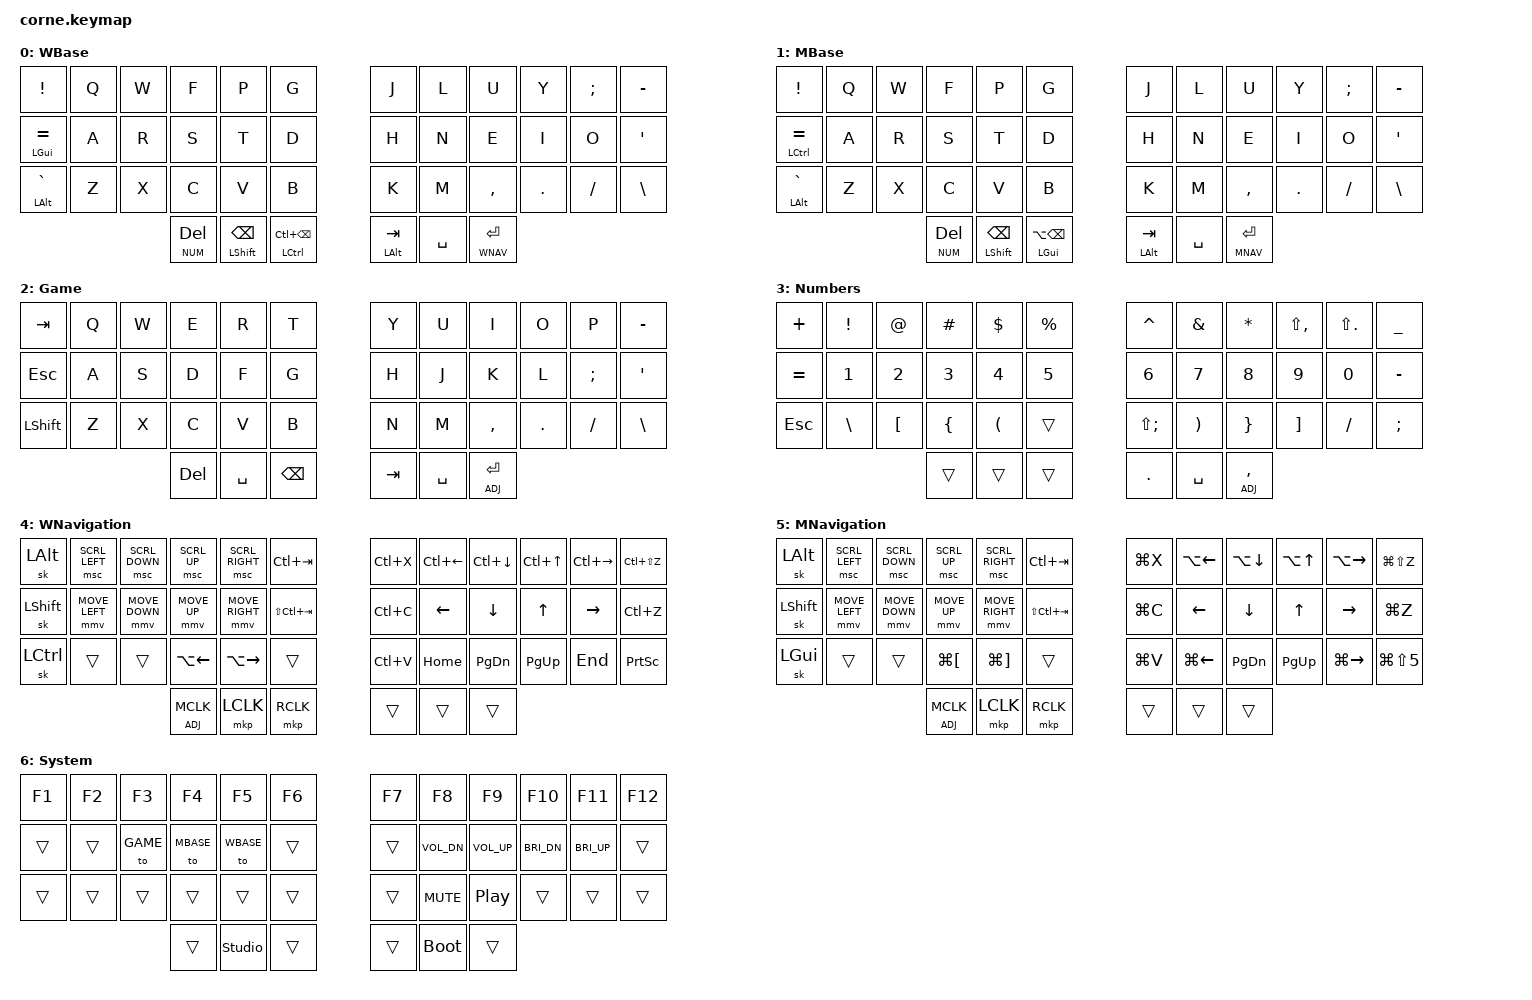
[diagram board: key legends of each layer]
#include <behaviors.dtsi>
#include <dt-bindings/zmk/bt.h>
#include <dt-bindings/zmk/keys.h>
#include <dt-bindings/zmk/pointing.h>

#define WBASE 0
#define MBASE 1
#define GAME 2
#define NUM 3
#define WNAV 4
#define MNAV 5
#define ADJ 6
#define ZMK_POINTING_DEFAULT_MOVE_VAL 1200
#define ZMK_POINTING_DEFAULT_SCRL_VAL 20

/ {
    behaviors {
        hm: homerow_mods {
            compatible = "zmk,behavior-hold-tap";
            #binding-cells = <2>;
            tapping-term-ms = <200>;
            flavor = "tap-preferred";
            bindings = <&kp>, <&kp>;

            quick-tap-ms = <180>;
            require-prior-idle-ms = <120>; /* tune to taste */
        };

        para: para {
            compatible = "zmk,behavior-tap-dance";
            #binding-cells = <0>;
            bindings = <&kp LEFT_PARENTHESIS>, <&kp RIGHT_PARENTHESIS>;
        };

        caps: caps {
            compatible = "zmk,behavior-caps-word";
            #binding-cells = <0>;
            continue-list = <MINUS BACKSPACE>;
        };

        paraless: paraless {
            compatible = "zmk,behavior-mod-morph";
            bindings = <&kp LEFT_PARENTHESIS>, <&kp LESS_THAN>;

            #binding-cells = <0>;
            mods = <(MOD_LSFT)>;
        };

        paragreat: paragreat {
            compatible = "zmk,behavior-mod-morph";
            bindings = <&kp RIGHT_PARENTHESIS>, <&kp GREATER_THAN>;

            #binding-cells = <0>;
            mods = <(MOD_LSFT)>;
        };

	// TAP DANCES THAT I USE
	   ex_esc: excl_escape {
		 compatible = "zmk,behavior-tap-dance";
		 #binding-cells = <0>;
           bindings = <&kp EXCL>, <&kp ESC>;
	   };

	   min_prt_w: minus_print_windows {
		 compatible = "zmk,behavior-tap-dance";
		 #binding-cells = <0>;
           bindings = <&kp MINUS>, <&kp PSCRN>;
	   };

	   min_prt_m: minus_print_mac {
		 compatible = "zmk,behavior-tap-dance";
		 #binding-cells = <0>;
           bindings = <&kp MINUS>, <&kp LG(LS(N5))>;
	   };

	   bslh_caps_word: baskslash_caps_word {
		 compatible = "zmk,behavior-tap-dance";
		 #binding-cells = <0>;
           bindings = <&kp BSLH>, <&caps_word>;
	   };
	
    };

    macros {
        browsertab: browsertab {
            compatible = "zmk,behavior-macro";
            #binding-cells = <0>;
            bindings =
                <&macro_press>,
                <&kp LCTRL>,
                <&macro_tap>,
                <&kp TAB>,
                <&macro_release>,
                <&kp LCTRL>;
        };

	combos {
		compatible = "zmk,combos";

		left_parenthesis {
	   		bindings = <&kp LPAR>;
			key-positions = <4 16>;
			layers = <WBASE MBASE>;
		};

		right_parenthesis {
	   		bindings = <&kp RPAR>;
			key-positions = <7 19>;
			layers = <WBASE MBASE>;
		};

		left_bracket {
	   		bindings = <&kp LBKT>;
			key-positions = <2 14>;
			layers = <WBASE MBASE>;
		};

		right_bracket {
	   		bindings = <&kp RBKT>;
			key-positions = <9 21>;
			layers = <WBASE MBASE>;
		};


		left_brace {
	   		bindings = <&kp LBRC>;
			key-positions = <3 15>;
			layers = <WBASE MBASE>;
		};

		right_brace {
	   		bindings = <&kp RBRC>;
			key-positions = <8 20>;
			layers = <WBASE MBASE>;
		};		

		escape {
	   		bindings = <&kp ESC>;
			key-positions = <37 38>;
			layers = <WBASE MBASE>;
		};

		print_win {
	   		bindings = <&kp PSCRN>;
			key-positions = <39 40>;
			layers = <WBASE>;
		};

		print_mac {
	   		bindings = <&kp LG(LS(N5))>;
			key-positions = <39 40>;
			layers = <WBASE>;
		};				


	};

    };


    //

    keymap {
        compatible = "zmk,keymap";

        WBASE {
            display-name = "WBase";

            // -----------------------------------------------------------------------------------------
            // |  !  |  Q  |  W  |  F  |  P   |    G     |===|  J  |   L    |  U  |  Y  |  ;  |  -  |
            // |  =  |  A  |  R  |  S  |  T   |    D     |===|  H  |   N    |  E  |  I  |  O  |  '  |
            // |  `  |  Z  |  X  |  C  |  V   |    B     |===|  N  |   M    |  ,  |  .  |  /  |  \  |
            //                   | DEL | BKSP | LC(BKSP) |===| TAB | SPACE  | RET |

            bindings = <
&kp EXCL        &kp Q  &kp W  &kp F       &kp P             &kp G                 &kp J         &kp L      &kp U          &kp Y    &kp SEMI  &kp MINUS
&mt LGUI EQUAL  &kp A  &kp R  &kp S       &kp T             &kp D                 &kp H         &kp N      &kp E          &kp I    &kp O     &kp SQT
&mt LALT GRAVE  &kp Z  &kp X  &kp C       &kp V             &kp B                 &kp K         &kp M      &kp COMMA      &kp DOT  &kp FSLH  &kp BSLH
                              &lt NUM DEL &mt LSHIFT BKSP   &mt LCTRL LC(BKSP)    &mt LALT TAB  &kp SPACE  &lt WNAV RET
            >;
        };

	MBASE {
            display-name = "MBase";

            // -----------------------------------------------------------------------------------------
            // |  !  |  Q  |  W  |  F  |  P   |    G     |===|  J  |   L    |  U  |  Y  |  ;  |  -  |
            // |  =  |  A  |  R  |  S  |  T   |    D     |===|  H  |   N    |  E  |  I  |  O  |  '  |
            // |  `  |  Z  |  X  |  C  |  V   |    B     |===|  N  |   M    |  ,  |  .  |  /  |  \  |
            //                   | DEL | BKSP | LC(BKSP) |===| TAB | SPACE  | RET |

            bindings = <
&kp EXCL         &kp Q  &kp W  &kp F       &kp P             &kp G                 &kp J         &kp L      &kp U          &kp Y    &kp SEMI  &kp MINUS
&mt LCTRL EQUAL  &kp A  &kp R  &kp S       &kp T             &kp D                 &kp H         &kp N      &kp E          &kp I    &kp O     &kp SQT
&mt LALT GRAVE   &kp Z  &kp X  &kp C       &kp V             &kp B                 &kp K         &kp M      &kp COMMA      &kp DOT  &kp FSLH  &kp BSLH
                               &lt NUM DEL &mt LSHIFT BKSP   &mt LGUI LA(BKSP)     &mt LALT TAB  &kp SPACE  &lt MNAV RET
            >;
        };

	GAME {
            display-name = "Game";

            // -----------------------------------------------------------------------------------------
            // | TAB |  Q  |  W  |  E  |  R   |    T     |===|  Y  |   U    |  I  |  O  |  P  |  -  |
            // | ESC |  A  |  S  |  D  |  F   |    G     |===|  H  |   J    |  K  |  L  |  ;  |  '  |
            // | SHFT|  Z  |  X  |  C  |  V   |    B     |===|  N  |   M    |  ,  |  .  |  /  |  \  |
            //                   | DEL | SPACE|    BKSP  |===| TAB | SPACE  | RET |

            bindings = <
&kp TAB     &kp Q  &kp W  &kp E       &kp R       &kp T     &kp Y    &kp U      &kp I          &kp O    &kp P     &kp MINUS
&kp ESC     &kp A  &kp S  &kp D       &kp F       &kp G     &kp H    &kp J      &kp K          &kp L    &kp SEMI  &kp SQT
&kp LSHIFT  &kp Z  &kp X  &kp C       &kp V       &kp B     &kp N    &kp M      &kp COMMA      &kp DOT  &kp FSLH  &kp BSLH
                          &kp DEL     &kp SPACE   &kp BKSP  &kp TAB  &kp SPACE  &lt ADJ RET
            >;
        };

        NUM {
            display-name = "Numbers";

            // -----------------------------------------------------------------------------------------
            // |  +   |  !  |  @  |  #  |  $  |  %  |===|  ^  |  &  |  *  |  <  |  >  |  _   |
            // |  =   |  1  |  2  |  3  |  4  |  5  |===|  6  |  7  |  8  |  9  |  0  |  -   |
            // | ESC  |     |  [  |  {  |  (  |     |===|  :  |  )  |  }  |  ]  |  /  |  ;   |
            //                    |     |     |     |===|  .  | SPC |  ,  |

            bindings = <
&kp PLUS   &kp EXCL  &kp AT    &kp HASH     &kp DLLR         &kp PRCNT        &kp CARET       &kp AMPS  &kp STAR  &kp LS(COMMA) &kp LS(DOT)      &kp UNDER
&kp EQUAL  &kp N1    &kp N2    &kp N3       &kp N4           &kp N5           &kp N6          &kp N7    &kp N8    &kp N9        &kp N0           &kp MINUS
&kp ESC    &kp BSLH  &kp LBKT  &kp LBRC     &kp LPAR         &trans           &kp LS(SEMI)    &kp RPAR  &kp RBRC  &kp RBKT      &kp FSLH         &kp SEMI
                               &trans       &trans           &trans           &kp DOT         &kp SPACE &lt ADJ COMMA 
            >;
        };

        WNAV {
            display-name = "WNavigation";

            // -----------------------------------------------------------------------------------------
            // | ALT | SCRL< | SCRLv | SCRL^ | SCRL> | TBFW |===|CUT  | WORD<| WORDv| WORD^| WORD>| REDO |
            // | SHFT| MOVE< | MOVEv | MOVE^ | MOVE> | TBBK |===|PASTE|  <   |  v   |  ^   |  >   | UNDO |
            // | CTRL|       |       | PGBK  | PGFWD |      |===|COPY | HOME | PGDN | PGUP | END  |      |
            //                       | MCLK  | LCLK  | RCLK |===|     |      |      |

            bindings = <
&sk LALT   &msc SCRL_LEFT    &msc SCRL_DOWN  &msc SCRL_UP    &msc SCRL_RIGHT   &kp LC(TAB)      &kp LC(X) &kp LC(LEFT)  &kp LC(DOWN)    &kp LC(UP)      &kp LC(RIGHT)    &kp LC(LS(Z)) 
&sk LSHIFT &mmv MOVE_LEFT    &mmv MOVE_DOWN  &mmv MOVE_UP    &mmv MOVE_RIGHT   &kp LS(LC(TAB))  &kp LC(C) &kp LEFT      &kp DOWN        &kp UP          &kp RIGHT        &kp LC(Z) 
&sk LCTRL  &trans            &trans          &kp LA(LEFT)    &kp LA(RIGHT)     &trans           &kp LC(V) &kp HOME      &kp PG_DN       &kp PG_UP       &kp END          &kp PSCRN
                                             &lt ADJ MCLK    &mkp LCLK         &mkp RCLK        &trans    &trans        &trans
            >;
        };

	MNAV {
            display-name = "MNavigation";

            // -----------------------------------------------------------------------------------------
            // | ALT | SCRL< | SCRLv | SCRL^ | SCRL> | TBFW |===|CUT  | WORD<| WORDv| WORD^| WORD>| REDO |
            // | SHFT| MOVE< | MOVEv | MOVE^ | MOVE> | TBBK |===|PASTE|  <   |  v   |  ^   |  >   | UNDO |
            // | CTRL|       |       | PGBK  | PGFWD |      |===|COPY | HOME | PGDN | PGUP | END  |      |
            //                       | MCLK  | LCLK  | RCLK |===|     |      |      |

            bindings = <
&sk LALT    &msc SCRL_LEFT    &msc SCRL_DOWN  &msc SCRL_UP    &msc SCRL_RIGHT   &kp LC(TAB)           &kp LG(X) &kp LA(LEFT)  &kp LA(DOWN)    &kp LA(UP)      &kp LA(RIGHT)    &kp LG(LS(Z)) 
&sk LSHIFT  &mmv MOVE_LEFT    &mmv MOVE_DOWN  &mmv MOVE_UP    &mmv MOVE_RIGHT   &kp LS(LC(TAB))       &kp LG(C) &kp LEFT      &kp DOWN        &kp UP          &kp RIGHT        &kp LG(Z) 
&sk LGUI    &trans            &trans          &kp LG(LBKT)    &kp LG(RBKT)      &trans                &kp LG(V) &kp LG(LEFT)  &kp PG_DN       &kp PG_UP       &kp LG(RIGHT)    &kp LG(LS(N5))
                                              &lt ADJ MCLK    &mkp LCLK         &mkp RCLK             &trans    &trans        &trans
            >;
        };

	ADJ {
            display-name = "System";

	    // -----------------------------------------------------------------------------------------
            // |  F1 |   F2  |   F3  |   F4  |   F5  |  F6  |===|  F7 |  F8  |  F9  |  F10 | F11 |  F12 |
            // |     |       | GAME  | MBASE | WBASE |      |===|     | VOLv | VOL^ | BRIv | BRI^|      |
            // |     |       |       |       |       |      |===|     | MUTE | Play |      |     |      |
            //                       |       | STDLK |      |===|     |      |      |

            bindings = <
&kp F1  &kp F2          &kp F3           &kp F4          &kp F5              &kp F6            &kp F7       &kp F8         &kp F9       &kp F10        &kp F11       &kp F12
&trans  &trans          &to GAME         &to MBASE       &to WBASE           &trans            &trans       &kp C_VOL_DN   &kp C_VOL_UP &kp C_BRI_DN   &kp C_BRI_UP  &trans
&trans  &trans          &trans           &trans          &trans              &trans            &trans       &kp C_MUTE     &kp C_PP     &trans         &trans        &trans
                                         &trans          &studio_unlock      &trans            &trans       &bootloader    &trans
            >;
        };

    };

};
 
